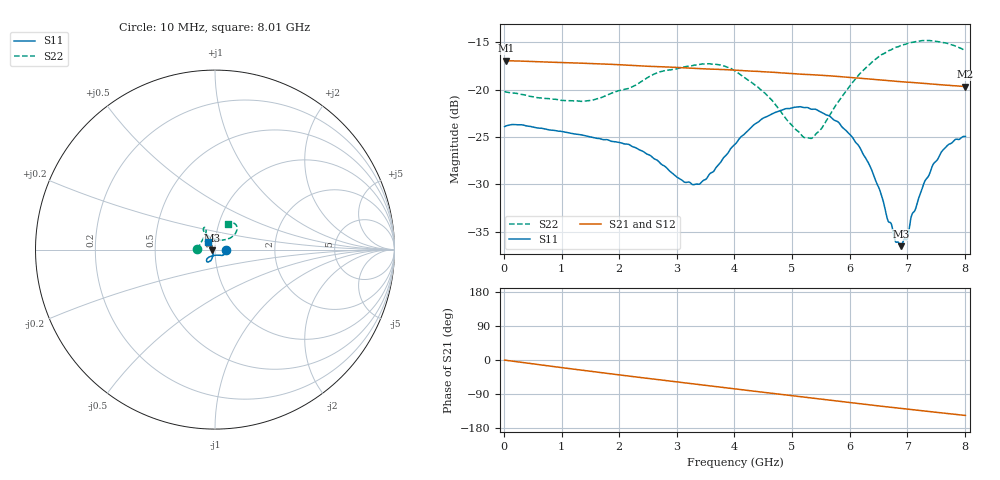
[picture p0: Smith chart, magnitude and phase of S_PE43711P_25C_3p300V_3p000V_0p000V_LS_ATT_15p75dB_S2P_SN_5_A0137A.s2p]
! Device ID: PE43711P
! File Path: z:\PE43711P\CHAR_NOM_04282014\AMB\3p300\LS_ATT_15p75dB\PE43711P_AMB_3p300V_3p000V_0p000V_LS_ATT_15p75dB_S2P_SN_5_A0137A.s2p
! Serial: 5
! Lot: A0137A
! Temp: 25C
! VDD: 3.300
! VSS: 0.000
! Control_Hi: 3.000
! Control_Lo: 0.000
! Attenuation Step: 15.75dB
! Port 1: RF1
! Port 2: RF2
! ThroughPath:1-2
! IDD: 0.0001283691
! ISS: -1.843e-007
#  Hz  S  RI  R  50
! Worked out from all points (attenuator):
!   801 points, 10 MHz to 8.01 GHz, reference 50 ohm
!   highest |S21| = -16.94 dB at 40 MHz (marker M1); lowest = -19.7 dB at 8.01 GHz (marker M2)
!   lowest |S11| = -36.5 dB at 6.89 GHz (marker M3), VSWR 1.03, Z = 48.6 - j0.326 ohm
!   |S11| at or under -10 dB: start of sweep to end of sweep
!   |S22| runs from -25.1 to -14.8 dB; largest |S21 - S12| = 0.00026
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1e7  0.0639 7.2e-05  0.1423 -0.000649  0.1424 -0.000697  -0.0979 0.000809
4e7  0.0645 -0.000468  0.1423 -0.00214  0.1423 -0.00216  -0.0972 0.00229
1.35e9  0.0506 -0.0279  0.1232 -0.0623  0.1233 -0.0624  -0.0731 0.0469
2.16e9  0.0396 -0.0329  0.0997 -0.0907  0.0998 -0.0907  -0.0545 0.0858
2.68e9  0.0279 -0.0313  0.0818 -0.104  0.0819 -0.1041  -0.0512 0.1126
3.12e9  0.0114 -0.0307  0.0653 -0.1131  0.0654 -0.1131  -0.0536 0.1204
3.37e9  0.00018 -0.0317  0.0557 -0.1168  0.0557 -0.1168  -0.0565 0.1233
4.01e9  -0.0315 -0.0407  0.0302 -0.1232  0.0301 -0.1233  -0.0648 0.1078
4.68e9  -0.0473 -0.0584  0.00313 -0.1235  0.00313 -0.1235  -0.0382 0.0768
5.18e9  -0.0428 -0.0686  -0.0157 -0.1198  -0.0158 -0.1197  -1.59e-05 0.0569
5.35e9  -0.0393 -0.0684  -0.0219 -0.118  -0.0219 -0.1181  0.0174 0.0529
5.79e9  -0.0256 -0.0629  -0.0374 -0.1114  -0.0375 -0.1115  0.0633 0.0572
6.16e9  -0.016 -0.0479  -0.049 -0.1042  -0.0491 -0.1043  0.0961 0.0717
6.38e9  -0.0124 -0.0358  -0.0553 -0.0994  -0.0553 -0.0995  0.1104 0.0846
6.68e9  -0.0124 -0.0158  -0.0627 -0.0924  -0.0627 -0.0925  0.1208 0.1061
6.8e9  -0.0131 -0.00875  -0.0654 -0.0894  -0.0654 -0.0896  0.1224 0.1142
6.89e9  -0.0146 -0.00336  -0.0674 -0.0873  -0.0674 -0.0873  0.1231 0.1194
7e9  -0.0159 0.00334  -0.0697 -0.0846  -0.0698 -0.0847  0.1225 0.1256
7.09e9  -0.0203 0.00909  -0.0717 -0.0824  -0.0717 -0.0824  0.1202 0.1311
7.46e9  -0.03 0.0277  -0.0787 -0.0726  -0.0786 -0.0726  0.1052 0.1469
7.7e9  -0.0366 0.0354  -0.0824 -0.0661  -0.0824 -0.066  0.0908 0.1503
8.01e9  -0.0406 0.0396  -0.0865 -0.0577  -0.0866 -0.0574  0.0746 0.1425
